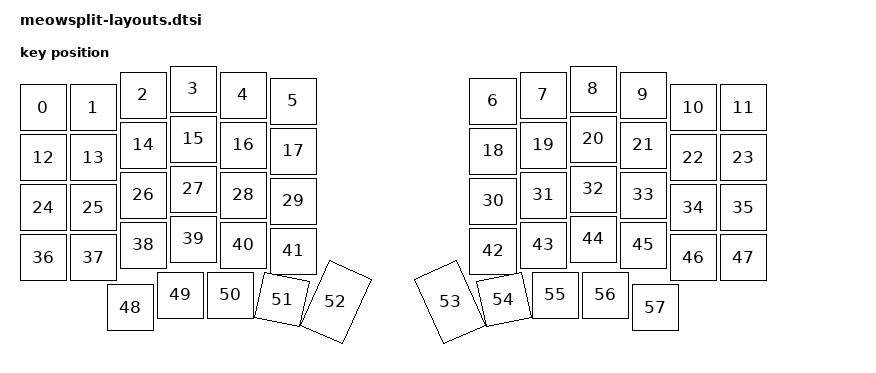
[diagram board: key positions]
#include <physical_layouts.dtsi>

/ {
    physical_layout_meowsplit: physical_layout_meowsplit {
        compatible = "zmk,physical-layout";
        display-name = "MeowSplit";
        keys  //                     w   h    x    y     rot    rx    ry
            = <&key_physical_attrs 100 100    0   37       0     0    37>
            , <&key_physical_attrs 100 100  100   37       0   100    37>
            , <&key_physical_attrs 100 100  200   12       0   200    12>
            , <&key_physical_attrs 100 100  300    0       0   300     0>
            , <&key_physical_attrs 100 100  400   12       0   400    12>
            , <&key_physical_attrs 100 100  500   24       0   500    24>
            , <&key_physical_attrs 100 100  900   24       0   900    24>
            , <&key_physical_attrs 100 100 1000   12       0  1000    12>
            , <&key_physical_attrs 100 100 1100    0       0  1100     0>
            , <&key_physical_attrs 100 100 1200   12       0  1200    12>
            , <&key_physical_attrs 100 100 1300   37       0  1300    37>
            , <&key_physical_attrs 100 100 1400   37       0  1400    37>
            , <&key_physical_attrs 100 100    0  137       0     0   137>
            , <&key_physical_attrs 100 100  100  137       0   100   137>
            , <&key_physical_attrs 100 100  200  112       0   200   112>
            , <&key_physical_attrs 100 100  300  100       0   300   100>
            , <&key_physical_attrs 100 100  400  112       0   400   112>
            , <&key_physical_attrs 100 100  500  124       0   500   124>
            , <&key_physical_attrs 100 100  900  124       0   900   124>
            , <&key_physical_attrs 100 100 1000  112       0  1000   112>
            , <&key_physical_attrs 100 100 1100  100       0  1100   100>
            , <&key_physical_attrs 100 100 1200  112       0  1200   112>
            , <&key_physical_attrs 100 100 1300  137       0  1300   137>
            , <&key_physical_attrs 100 100 1400  137       0  1400   137>
            , <&key_physical_attrs 100 100    0  237       0     0   237>
            , <&key_physical_attrs 100 100  100  237       0   100   237>
            , <&key_physical_attrs 100 100  200  212       0   200   212>
            , <&key_physical_attrs 100 100  300  200       0   300   200>
            , <&key_physical_attrs 100 100  400  212       0   400   212>
            , <&key_physical_attrs 100 100  500  224       0   500   224>
            , <&key_physical_attrs 100 100  900  224       0   900   224>
            , <&key_physical_attrs 100 100 1000  212       0  1000   212>
            , <&key_physical_attrs 100 100 1100  200       0  1100   200>
            , <&key_physical_attrs 100 100 1200  212       0  1200   212>
            , <&key_physical_attrs 100 100 1300  237       0  1300   237>
            , <&key_physical_attrs 100 100 1400  237       0  1400   237>
            , <&key_physical_attrs 100 100    0  337       0     0   337>
            , <&key_physical_attrs 100 100  100  337       0   100   337>
            , <&key_physical_attrs 100 100  200  312       0   200   312>
            , <&key_physical_attrs 100 100  300  300       0   300   300>
            , <&key_physical_attrs 100 100  400  312       0   400   312>
            , <&key_physical_attrs 100 100  500  324       0   500   324>
            , <&key_physical_attrs 100 100  900  324       0   900   324>
            , <&key_physical_attrs 100 100 1000  312       0  1000   312>
            , <&key_physical_attrs 100 100 1100  300       0  1100   300>
            , <&key_physical_attrs 100 100 1200  312       0  1200   312>
            , <&key_physical_attrs 100 100 1300  337       0  1300   337>
            , <&key_physical_attrs 100 100 1400  337       0  1400   337>
            , <&key_physical_attrs 100 100  175  437       0   175   437>
            , <&key_physical_attrs 100 100  275  412       0   275   412>
            , <&key_physical_attrs 100 100  375  412       0   375   412>
            , <&key_physical_attrs 100 100  490  412    1200   490   412>
            , <&key_physical_attrs 100 150  600  383    2400   600   433>
            , <&key_physical_attrs 100 150  800  383 (-2400)   900   433>
            , <&key_physical_attrs 100 100  910  412 (-1200)  1010   412>
            , <&key_physical_attrs 100 100 1025  412       0  1025   412>
            , <&key_physical_attrs 100 100 1125  412       0  1125   412>
            , <&key_physical_attrs 100 100 1225  437       0  1225   437>
            ;
    };
};
